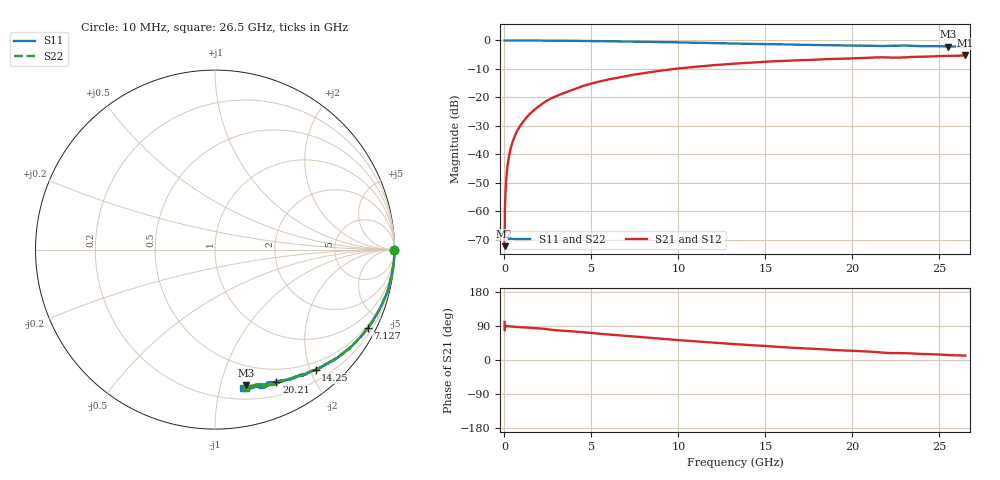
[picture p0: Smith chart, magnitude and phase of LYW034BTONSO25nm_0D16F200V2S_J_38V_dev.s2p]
!Keysight Technologies,N5222B,MY61253708,A.15.00.15
!Date: Wednesday, June 19, 2024 08:59:07
!Correction: S11(C  2-Port  )
!S21(C  2-Port  )
!S12(C  2-Port  )
!S22(C  2-Port  )
!S2P File: Measurements: S11, S21, S12, S22:
# Hz S  RI  R 50
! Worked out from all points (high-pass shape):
!   2651 points, 10 MHz to 26.5 GHz, reference 50 ohm
!   highest |S21| = -5.24 dB at 26.5 GHz (marker M1); lowest = -72.2 dB at 10 MHz (marker M2)
!   |S21| within 3 dB of the highest: 12.98854 GHz to 13.03108 GHz (42.55 MHz wide, 0.327 % of centre); 13.04 GHz to end of sweep
!   lowest |S11| = -2.2 dB at 25.5 GHz (marker M3), VSWR 7.94, Z = 15.9 - j60.4 ohm
!   |S11| at or under -10 dB: nowhere
!   |S22| runs from -2.1 to 0.0 dB; largest |S21 - S12| = 0.0075
!   S11 on the Smith chart (normalised r, x): 10 MHz: open; 7.127 GHz: 0.40, -4.08; 14.25 GHz: 0.37, -2.09; 20.21 GHz: 0.35, -1.51; 26.5 GHz: 0.29, -1.18
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1e7  0.9991 -0.0023  -4.52e-05 0.000241  0.000123 0.000442  0.9988 -0.000608
7.997358e7  0.9998 -0.00586  1.3e-05 0.00285  2.09e-05 0.00284  0.9994 -0.00539
1.499472e8  0.9998 -0.0114  5.31e-05 0.00533  6.56e-05 0.00535  0.9994 -0.0107
1.899321e8  0.9999 -0.0134  7.43e-05 0.00674  0.000111 0.00678  0.9997 -0.0126
2.499094e8  0.9993 -0.0181  0.000153 0.00885  0.000166 0.00892  0.9992 -0.0172
3.498717e8  0.9993 -0.025  0.000329 0.0124  0.00032 0.0125  0.9993 -0.0241
4.698264e8  0.9988 -0.0338  0.000559 0.0166  0.000514 0.0167  0.9984 -0.0325
6.197698e8  0.9987 -0.0438  0.00105 0.0219  0.00099 0.0221  0.9986 -0.0429
8.096981e8  0.9977 -0.057  0.00162 0.0285  0.00162 0.0287  0.9972 -0.0557
1.43946e9  0.9895 -0.1015  0.004 0.0506  0.00409 0.0509  0.992 -0.0979
2.319128e9  0.9795 -0.158  0.0114 0.0823  0.0116 0.0828  0.981 -0.1582
3.138819e9  0.967 -0.2125  0.0231 0.1082  0.0233 0.1089  0.9681 -0.2106
4.428332e9  0.9358 -0.292  0.0435 0.1497  0.0439 0.1505  0.9379 -0.2884
7.127313e9  0.8499 -0.4385  0.1093 0.2153  0.1106 0.2159  0.8526 -0.4363
8.846664e9  0.784 -0.5151  0.1591 0.2444  0.1605 0.2451  0.7866 -0.5124
1.3255e10  0.6002 -0.6486  0.2917 0.2621  0.2938 0.2621  0.6054 -0.6467
1.425462e10  0.5609 -0.6694  0.3181 0.2568  0.3199 0.2572  0.5661 -0.6662
1.767333e10  0.4245 -0.719  0.3975 0.2269  0.4007 0.2259  0.4378 -0.7166
2.021237e10  0.3426 -0.7353  0.4465 0.1975  0.4479 0.1949  0.358 -0.736
2.209166e10  0.2914 -0.7444  0.4769 0.1599  0.4783 0.1579  0.2879 -0.7515
2.550038e10  0.1751 -0.7563  0.5228 0.1202  0.524 0.1213  0.1972 -0.7619
2.65e10  0.1569 -0.7708  0.5361 0.1093  0.5351 0.1066  0.1711 -0.7711
